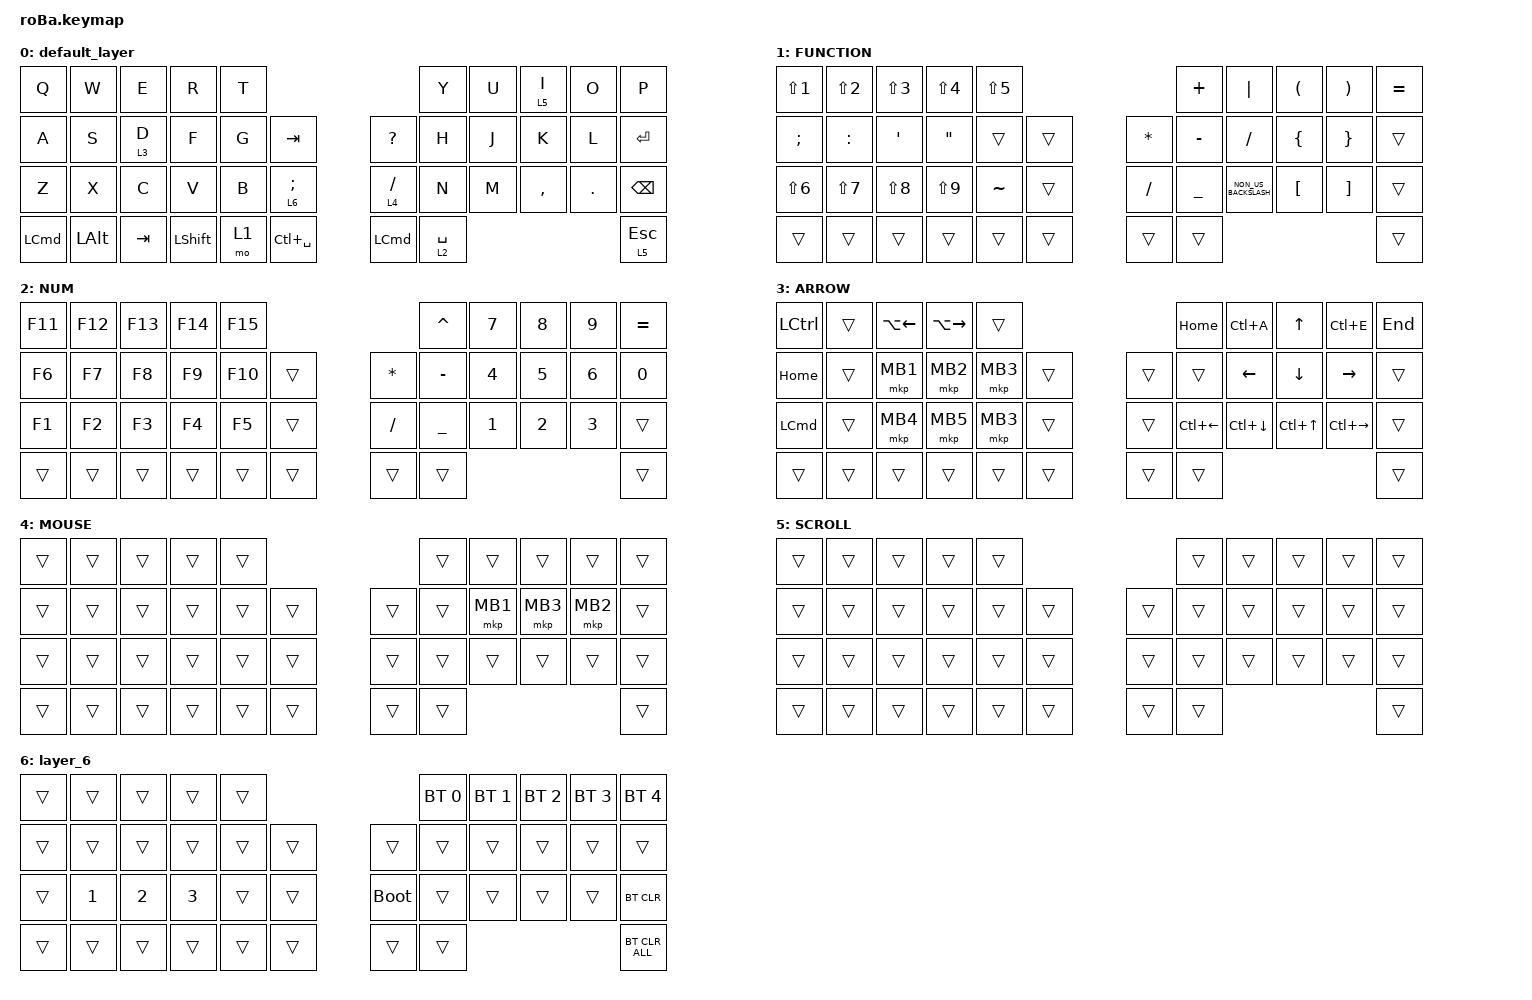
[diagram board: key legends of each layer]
#include <behaviors.dtsi>
#include <dt-bindings/zmk/bt.h>
#include <dt-bindings/zmk/keys.h>
#include <dt-bindings/zmk/pointing.h>
#include <input/processors.dtsi>

&mt {
    flavor = "balanced";
    quick-tap-ms = <0>;
};

&trackball {
    automouse-layer = <4>;
    // scroll-layers is handled by Input Processor below.
    // scroll-layers = <5>;

    // arrows {
    //     layers = <3>;
    //     bindings =
    //         <&kp RIGHT_ARROW>,
    //         <&kp LEFT_ARROW>,
    //         <&kp UP_ARROW>,
    //         <&kp DOWN_ARROW>;
    //     tick = <10>;
    //     wait-ms = <5>;
    //     tap-ms = <5>;
    // };
};

&trackball_listener {
    scroller {
        layers = <5>;
        input-processors = <
            &zip_xy_to_scroll_mapper
            &zip_scroll_scaler 1 4
        >;
    };
};

/ {
    combos {
        compatible = "zmk,combos";

        tab {
            bindings = <&kp TAB>;
            key-positions = <11 12>;
        };

        shift_tab {
            bindings = <&kp LS(TAB)>;
            key-positions = <12 13>;
        };

        muhennkann {
            bindings = <&to_layer_0 INT_MUHENKAN>;
            key-positions = <11 10>;
        };

        double_quotation {
            bindings = <&kp DOUBLE_QUOTES>;
            key-positions = <20 21>;
        };

        eq {
            bindings = <&kp EQUAL>;
            key-positions = <24 25>;
        };
    };

    macros {
        to_layer_0: to_layer_0 {
            compatible = "zmk,behavior-macro-one-param";
            #binding-cells = <1>;
            bindings = <&to 0 &macro_param_1to1 &kp MACRO_PLACEHOLDER>;
            label = "TO_LAYER_0";
        };
    };

    behaviors {
        lt_to_layer_0: lt_to_layer_0 {
            compatible = "zmk,behavior-hold-tap";
            label = "LAYER_TAP_TO_0";
            bindings = <&mo>, <&to_layer_0>;

            #binding-cells = <2>;
            tapping-term-ms = <200>;
        };
    };

    keymap {
        compatible = "zmk,keymap";

        default_layer {
            bindings = <
&kp Q             &kp W         &kp E    &kp R           &kp T                                                    &kp Y        &kp U  &lt 5 I    &kp O    &kp P
&kp A             &kp S         &lt 3 D  &kp F           &kp G  &kp TAB                         &kp QUESTION      &kp H        &kp J  &kp K      &kp L    &kp ENTER
&kp Z             &kp X         &kp C    &kp V           &kp B  &lt_to_layer_0 6 SEMICOLON      &lt 4 SLASH       &kp N        &kp M  &kp COMMA  &kp DOT  &kp BACKSPACE
&kp LEFT_COMMAND  &kp LEFT_ALT  &kp TAB  &kp LEFT_SHIFT  &mo 1  &kp LC(SPACE)                   &kp LEFT_COMMAND  &lt 2 SPACE                             &lt 5 ESCAPE
            >;
        };

        FUNCTION {
            bindings = <
&kp LS(NUMBER_1)  &kp LS(NUMBER_2)  &kp LS(NUMBER_3)  &kp LS(NUMBER_4)   &kp LS(N5)                            &kp PLUS        &kp PIPE              &kp LEFT_PARENTHESIS  &kp RIGHT_PARENTHESIS  &kp EQUAL
&kp SEMICOLON     &kp COLON         &kp SQT           &kp DOUBLE_QUOTES  &trans      &trans      &kp ASTERISK  &kp MINUS       &kp SLASH             &kp LEFT_BRACE        &kp RIGHT_BRACE        &trans
&kp LS(NUMBER_6)  &kp LS(N7)        &kp LS(N8)        &kp LS(N9)         &kp TILDE   &trans      &kp SLASH     &kp UNDERSCORE  &kp NON_US_BACKSLASH  &kp LEFT_BRACKET      &kp RIGHT_BRACKET      &trans
&trans            &trans            &trans            &trans             &trans      &trans      &trans        &trans                                                                             &trans
            >;
        };

        NUM {
            bindings = <
&kp F11  &kp F12  &kp F13  &kp F14  &kp F15                            &kp CARET       &kp N7        &kp N8        &kp N9        &kp EQUAL
&kp F6   &kp F7   &kp F8   &kp F9   &kp F10  &trans      &kp ASTERISK  &kp MINUS       &kp NUMBER_4  &kp N5        &kp NUMBER_6  &kp N0
&kp F1   &kp F2   &kp F3   &kp F4   &kp F5   &trans      &kp SLASH     &kp UNDERSCORE  &kp NUMBER_1  &kp NUMBER_2  &kp NUMBER_3  &trans
&trans   &trans   &trans   &trans   &trans   &trans      &trans        &trans                                                    &trans
            >;
        };

        ARROW {
            bindings = <
&kp LCTRL         &trans  &kp LA(LEFT_ARROW)  &kp LA(RIGHT_ARROW)  &trans                        &kp HOME            &kp LC(A)           &kp UP_ARROW      &kp LC(E)            &kp END
&kp HOME          &trans  &mkp MB1            &mkp MB2             &mkp MB3  &trans      &trans  &trans              &kp LEFT_ARROW      &kp DOWN_ARROW    &kp RIGHT_ARROW      &trans
&kp LEFT_COMMAND  &trans  &mkp MB4            &mkp MB5             &mkp MB3  &trans      &trans  &kp LC(LEFT_ARROW)  &kp LC(DOWN_ARROW)  &kp LC(UP_ARROW)  &kp LC(RIGHT_ARROW)  &trans
&trans            &trans  &trans              &trans               &trans    &trans      &trans  &trans                                                                         &trans
            >;
        };

        MOUSE {
            bindings = <
&trans  &trans  &trans  &trans  &trans                      &trans  &trans    &trans    &trans    &trans
&trans  &trans  &trans  &trans  &trans  &trans      &trans  &trans  &mkp MB1  &mkp MB3  &mkp MB2  &trans
&trans  &trans  &trans  &trans  &trans  &trans      &trans  &trans  &trans    &trans    &trans    &trans
&trans  &trans  &trans  &trans  &trans  &trans      &trans  &trans                                &trans
            >;
        };

        SCROLL {
            bindings = <
&trans  &trans  &trans  &trans  &trans                      &trans  &trans  &trans  &trans  &trans
&trans  &trans  &trans  &trans  &trans  &trans      &trans  &trans  &trans  &trans  &trans  &trans
&trans  &trans  &trans  &trans  &trans  &trans      &trans  &trans  &trans  &trans  &trans  &trans
&trans  &trans  &trans  &trans  &trans  &trans      &trans  &trans                          &trans
            >;
        };

        layer_6 {
            bindings = <
&trans  &trans        &trans        &trans        &trans                           &bt BT_SEL 0  &bt BT_SEL 1  &bt BT_SEL 2  &bt BT_SEL 3  &bt BT_SEL 4
&trans  &trans        &trans        &trans        &trans  &trans      &trans       &trans        &trans        &trans        &trans        &trans
&trans  &kp NUMBER_1  &kp NUMBER_2  &kp NUMBER_3  &trans  &trans      &bootloader  &trans        &trans        &trans        &trans        &bt BT_CLR
&trans  &trans        &trans        &trans        &trans  &trans      &trans       &trans                                                  &bt BT_CLR_ALL
            >;
        };
    };
};
